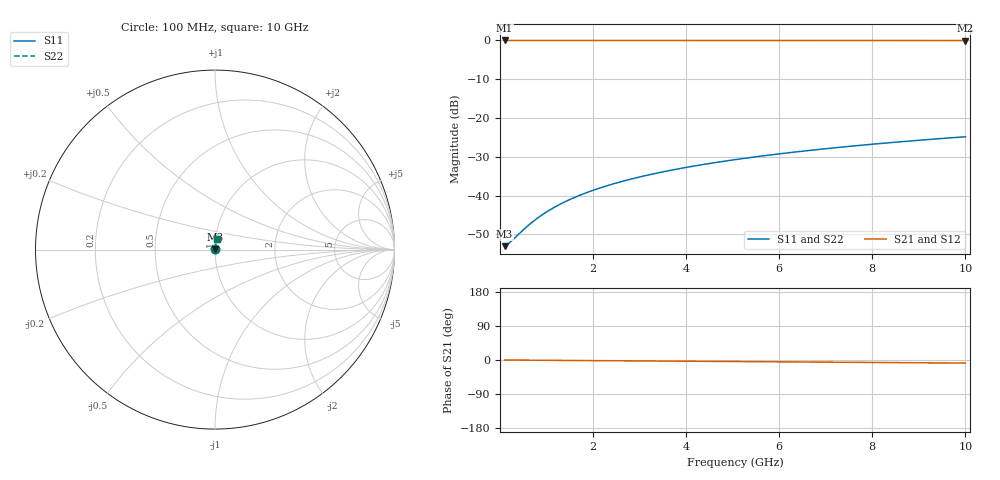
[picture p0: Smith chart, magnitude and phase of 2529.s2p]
# Hz S RI R 50.00
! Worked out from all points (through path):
!   100 points, 100 MHz to 10 GHz, reference 50 ohm
!   highest |S21| = -0.02 dB at 100 MHz (marker M1); lowest = 0.0 dB at 10 GHz (marker M2)
!   group delay of S21, straight-line fit = 2.25 ps
!   lowest |S11| = -53.0 dB at 100 MHz (marker M3), VSWR 1.00, Z = 50.2 + j0.0574 ohm
!   |S11| at or under -10 dB: start of sweep to end of sweep
!   |S22| runs from -53.0 to -24.8 dB; largest |S21 - S12| = 0
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1e8  0.00216 0.000571  0.9978 -0.00141  0.9978 -0.00141  0.00216 0.000571
2e8  0.00217 0.00114  0.9978 -0.00281  0.9978 -0.00281  0.00217 0.00114
6e8  0.00223 0.00343  0.9978 -0.00843  0.9978 -0.00843  0.00223 0.00343
7e8  0.00225 0.004  0.9977 -0.00984  0.9977 -0.00984  0.00225 0.004
9e8  0.00228 0.00514  0.9977 -0.0126  0.9977 -0.0126  0.00228 0.00514
1.1e9  0.00232 0.00628  0.9976 -0.0155  0.9976 -0.0155  0.00232 0.00628
1.3e9  0.00237 0.00742  0.9976 -0.0183  0.9976 -0.0183  0.00237 0.00742
1.5e9  0.00242 0.00856  0.9975 -0.0211  0.9975 -0.0211  0.00242 0.00856
1.8e9  0.00251 0.0103  0.9974 -0.0253  0.9974 -0.0253  0.00251 0.0103
2.1e9  0.00261 0.012  0.9972 -0.0295  0.9972 -0.0295  0.00261 0.012
2.5e9  0.00277 0.0143  0.997 -0.0351  0.997 -0.0351  0.00277 0.0143
2.9e9  0.00295 0.0165  0.9967 -0.0407  0.9967 -0.0407  0.00295 0.0165
3.4e9  0.00322 0.0194  0.9964 -0.0478  0.9964 -0.0478  0.00322 0.0194
3.8e9  0.00346 0.0217  0.996 -0.0534  0.996 -0.0534  0.00346 0.0217
4.2e9  0.00372 0.0239  0.9956 -0.059  0.9956 -0.059  0.00372 0.0239
4.6e9  0.00401 0.0262  0.9952 -0.0646  0.9952 -0.0646  0.00401 0.0262
5.1e9  0.00441 0.029  0.9946 -0.0716  0.9946 -0.0716  0.00441 0.029
5.9e9  0.00513 0.0335  0.9936 -0.0828  0.9936 -0.0828  0.00513 0.0335
6.7e9  0.00595 0.038  0.9924 -0.094  0.9924 -0.094  0.00595 0.038
7.5e9  0.00688 0.0425  0.9911 -0.1052  0.9911 -0.1052  0.00688 0.0425
8.4e9  0.00804 0.0475  0.9894 -0.1178  0.9894 -0.1178  0.00804 0.0475
1e10  0.0104 0.0564  0.986 -0.14  0.986 -0.14  0.0104 0.0564
